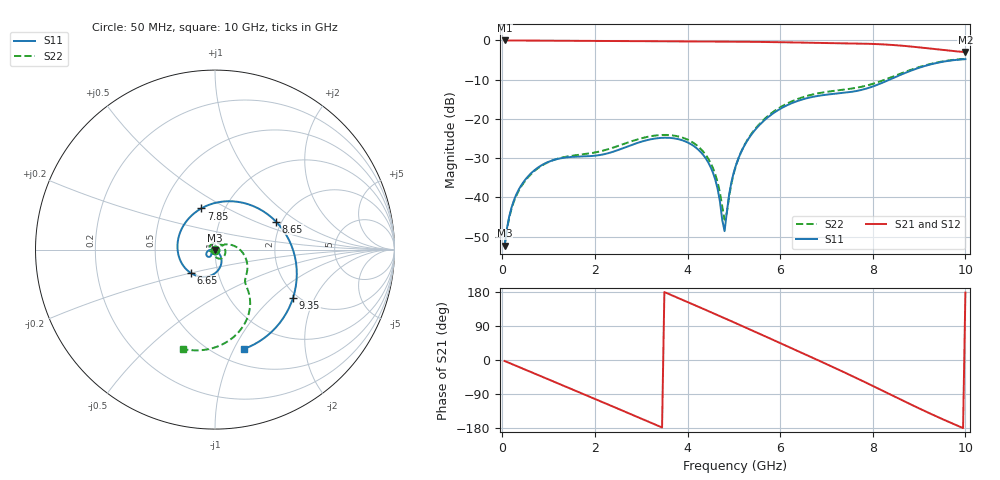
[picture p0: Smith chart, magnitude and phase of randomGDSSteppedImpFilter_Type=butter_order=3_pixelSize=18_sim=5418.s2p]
! freq	dB(S11)	phase(S11)	dB(S12)	phase(S12)
!  dB(S21)	phase(S21)	dB(S22)	phase(S22)
!S-par simulation data
#  GHz  S  DB  R 50
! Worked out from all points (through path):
!   200 points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, 50 MHz to 10 GHz, reference 50 ohm
!   highest |S21| = -0.02 dB at 50 MHz (marker M1); lowest = -3.0 dB at 10 GHz (marker M2)
!   group delay of S21, straight-line fit = 151 ps
!   lowest |S11| = -52.3 dB at 50 MHz (marker M3), VSWR 1.00, Z = 50.2 - j0.185 ohm
!   |S11| at or under -10 dB: start of sweep to 8.364 GHz
!   |S22| runs from -52.5 to -4.7 dB; largest |S21 - S12| = 0
!   S11 on the Smith chart (normalised r, x): 50 MHz: 1.00, -0.00; 6.65 GHz: 0.74, -0.20; 7.85 GHz: 0.78, +0.38; 8.65 GHz: 1.87, +0.68; 9.35 GHz: 1.89, -1.37; 10 GHz: 0.67, -1.10
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0.05  -52.30 -49.4  -0.02 -2.6  -0.02 -2.6  -52.46 -50.3
0.25  -40.81 -88.3  -0.03 -12.9  -0.03 -12.9  -41.10 -96.6
0.55  -34.75 -105.1  -0.05 -28.2  -0.05 -28.2  -35.00 -125.2
1.2  -30.21 -126.5  -0.08 -61.6  -0.08 -61.6  -30.15 -179.5
1.75  -29.58 -131.9  -0.11 -89.8  -0.11 -89.8  -29.03 127.6
2.5  -27.95 -124.0  -0.16 -128.6  -0.16 -128.6  -26.91 46.4
3.4  -24.88 -137.7  -0.23 -175.5  -0.23 -175.5  -24.14 -29.4
4  -26.00 -159.4  -0.27 153.0  -0.27 153.0  -25.30 -67.4
4.4  -30.20 -174.9  -0.29 131.8  -0.29 131.8  -29.30 -87.8
4.6  -35.53 -179.1  -0.30 121.1  -0.30 121.1  -34.17 -92.7
4.8  -48.64 -98.6  -0.31 110.3  -0.31 110.3  -45.70 -38.7
4.9  -39.17 -44.6  -0.32 104.9  -0.32 104.9  -39.69 27.4
5.05  -31.66 -41.8  -0.33 96.8  -0.33 96.8  -31.79 37.1
5.65  -20.46 -70.3  -0.40 64.0  -0.40 64.0  -20.17 14.9
6.65  -14.53 -135.9  -0.60 8.8  -0.60 8.8  -13.94 -26.2
6.7  -14.41 -139.8  -0.61 6.0  -0.61 6.0  -13.80 -27.8
7.25  -13.53 172.8  -0.70 -24.8  -0.70 -24.8  -12.73 -42.3
7.85  -12.33 108.4  -0.84 -59.5  -0.84 -59.5  -11.57 -49.1
8.35  -10.07 53.6  -1.11 -89.2  -1.11 -89.2  -9.62 -54.1
8.65  -8.54 24.5  -1.37 -107.1  -1.37 -107.1  -8.25 -60.1
9.35  -5.83 -31.6  -2.24 -147.5  -2.24 -147.5  -5.72 -82.4
10  -4.79 -73.5  -2.98 177.7  -2.98 177.7  -4.72 -107.7
